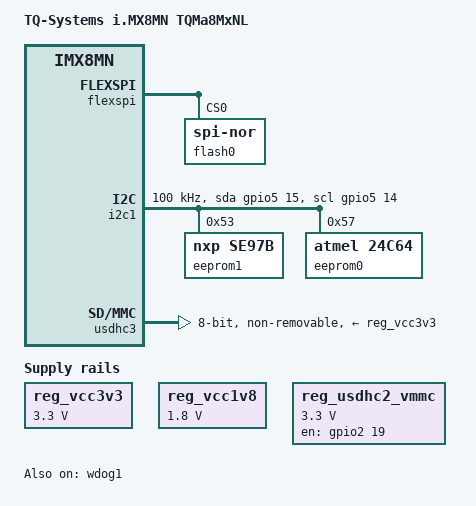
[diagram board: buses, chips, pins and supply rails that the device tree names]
// SPDX-License-Identifier: GPL-2.0-or-later OR MIT
/*
 * Copyright 2020 - 2021 TQ-Systems GmbH
 */

#include "imx8mn.dtsi"

/ {
	model = "TQ-Systems i.MX8MN TQMa8MxNL";
	compatible = "tq,imx8mn-tqma8mxnl", "fsl,imx8mn";

	reg_vcc3v3: regulator-vcc3v3 {
		compatible = "regulator-fixed";
		regulator-name = "TQMA8MXNL_VCC3V3";
		regulator-min-microvolt = <3300000>;
		regulator-max-microvolt = <3300000>;
		regulator-always-on;
	};

	/* e-MMC IO, needed for HS modes */
	reg_vcc1v8: regulator-vcc1v8 {
		compatible = "regulator-fixed";
		regulator-name = "TQMA8MXNL_VCC1V8";
		regulator-min-microvolt = <1800000>;
		regulator-max-microvolt = <1800000>;
		regulator-always-on;
	};

	reg_usdhc2_vmmc: regulator-vmmc {
		compatible = "regulator-fixed";
		pinctrl-names = "default";
		pinctrl-0 = <&pinctrl_reg_usdhc2_vmmc>;
		regulator-name = "VSD_3V3";
		regulator-min-microvolt = <3300000>;
		regulator-max-microvolt = <3300000>;
		gpio = <&gpio2 19 GPIO_ACTIVE_HIGH>;
		enable-active-high;
		startup-delay-us = <100>;
		off-on-delay-us = <12000>;
	};
};

&flexspi {
	pinctrl-names = "default";
	pinctrl-0 = <&pinctrl_flexspi0>;
	spi-max-frequency = <29000000>;
	num-cs = <1>;
	status = "okay";

	flash0: flash@0 {
		reg = <0>;
		#address-cells = <1>;
		#size-cells = <1>;
		compatible = "jedec,spi-nor";
		spi-nor,ddr-quad-read-dummy = <6>;
		spi-tx-bus-width = <4>;
		spi-rx-bus-width = <4>;
		/* used for macronix flash only */
		macronix,dsr = <0x3>;
	};
};

&iomuxc {
	/*
	 * Pad Control Register
	 *
	 * | 8  | 7    | 6   | 5   | 4:3  | 2:0 |
	 * | 0  | 0    | 0   | 0   | 0x   | 00x |
	 * | PE | HYS  | PUE | ODE | FSEL | DSE |
	 *
	 * PE: Pull Resistors Enable
	 * HYS: Hysteresis Enable
	 * PUE:
	 * 0 — Select pull-down resistors
	 * 1 — Select pull-up resistors
	 * ODE: Open Drain Enable
	 * FSEL:
	 * 0x - Select slow slew rate (SR=1)
	 * 1x — Select fast slew rate (SR=0)
	 * DSE:
	 * 00x — Drive strength X1
	 * 10x — Drive strength X2
	 * 01x — Drive strength X4
	 * 11x — Drive strength X6
	 *
	 * GPIO: 0x84 [HYS|slow|X2] (no pull up)
	 * I2C: 0x400001C4 [SION|PE|HYS|PUE|slow|x2]
	 * USDHC: 0x1D4 [HYS|fast|x2] (pull up)
	 * USDHC100: 0x1D4 [HYS|fast|x2] (pull up)
	 * USDHC200: 0x1D4 [HYS|fast|x2] (pull up)
	 */
	pinctrl_flexspi0: flexspi0grp {
		fsl,pins = <
			MX8MN_IOMUXC_NAND_ALE_QSPI_A_SCLK	0x84
			MX8MN_IOMUXC_NAND_CE0_B_QSPI_A_SS0_B	0x84
			MX8MN_IOMUXC_NAND_DATA00_QSPI_A_DATA0	0x84
			MX8MN_IOMUXC_NAND_DATA01_QSPI_A_DATA1	0x84
			MX8MN_IOMUXC_NAND_DATA02_QSPI_A_DATA2	0x84
			MX8MN_IOMUXC_NAND_DATA03_QSPI_A_DATA3	0x84
			MX8MN_IOMUXC_NAND_DQS_QSPI_A_DQS	0x40000084
		>;
	};

	pinctrl_i2c1: i2c1grp {
		fsl,pins = <
			MX8MN_IOMUXC_I2C1_SCL_I2C1_SCL		0x400001c4
			MX8MN_IOMUXC_I2C1_SDA_I2C1_SDA		0x400001c4
		>;
	};

	pinctrl_i2c1_gpio: i2c1gpiogrp {
		fsl,pins = <
			MX8MN_IOMUXC_I2C1_SCL_GPIO5_IO14	0x400001c4
			MX8MN_IOMUXC_I2C1_SDA_GPIO5_IO15	0x400001c4
		>;
	};

	pinctrl_pmic: pmicgrp {
		fsl,pins = <
			MX8MN_IOMUXC_GPIO1_IO08_GPIO1_IO8	0x84
		>;
	};

	pinctrl_emmc: usdhc3grp {
		fsl,pins = <
			MX8MN_IOMUXC_NAND_WE_B_USDHC3_CLK		0x1d4
			MX8MN_IOMUXC_NAND_WP_B_USDHC3_CMD		0x1d2
			MX8MN_IOMUXC_NAND_DATA04_USDHC3_DATA0		0x1d4
			MX8MN_IOMUXC_NAND_DATA05_USDHC3_DATA1		0x1d4
			MX8MN_IOMUXC_NAND_DATA06_USDHC3_DATA2		0x1d4
			MX8MN_IOMUXC_NAND_DATA07_USDHC3_DATA3		0x1d4
			MX8MN_IOMUXC_NAND_RE_B_USDHC3_DATA4		0x1d4
			MX8MN_IOMUXC_NAND_CE2_B_USDHC3_DATA5		0x1d4
			MX8MN_IOMUXC_NAND_CE3_B_USDHC3_DATA6		0x1d4
			MX8MN_IOMUXC_NAND_CLE_USDHC3_DATA7		0x1d4
			MX8MN_IOMUXC_NAND_CE1_B_USDHC3_STROBE		0x84
			MX8MN_IOMUXC_NAND_READY_B_USDHC3_RESET_B	0x84
		>;
	};

	pinctrl_emmc_100mhz: usdhc3grp100mhz {
		fsl,pins = <
			MX8MN_IOMUXC_NAND_WE_B_USDHC3_CLK		0x1d2
			MX8MN_IOMUXC_NAND_WP_B_USDHC3_CMD		0x1d2
			MX8MN_IOMUXC_NAND_DATA04_USDHC3_DATA0		0x1d4
			MX8MN_IOMUXC_NAND_DATA05_USDHC3_DATA1		0x1d4
			MX8MN_IOMUXC_NAND_DATA06_USDHC3_DATA2		0x1d4
			MX8MN_IOMUXC_NAND_DATA07_USDHC3_DATA3		0x1d4
			MX8MN_IOMUXC_NAND_RE_B_USDHC3_DATA4		0x1d4
			MX8MN_IOMUXC_NAND_CE2_B_USDHC3_DATA5		0x1d4
			MX8MN_IOMUXC_NAND_CE3_B_USDHC3_DATA6		0x1d4
			MX8MN_IOMUXC_NAND_CLE_USDHC3_DATA7		0x1d4
			MX8MN_IOMUXC_NAND_CE1_B_USDHC3_STROBE		0x84
			MX8MN_IOMUXC_NAND_READY_B_USDHC3_RESET_B	0x84
		>;
	};

	pinctrl_emmc_200mhz: usdhc3grp200mhz {
		fsl,pins = <
			MX8MN_IOMUXC_NAND_WE_B_USDHC3_CLK		0x1d6
			MX8MN_IOMUXC_NAND_WP_B_USDHC3_CMD		0x1d2
			MX8MN_IOMUXC_NAND_DATA04_USDHC3_DATA0		0x1d4
			MX8MN_IOMUXC_NAND_DATA05_USDHC3_DATA1		0x1d4
			MX8MN_IOMUXC_NAND_DATA06_USDHC3_DATA2		0x1d4
			MX8MN_IOMUXC_NAND_DATA07_USDHC3_DATA3		0x1d4
			MX8MN_IOMUXC_NAND_RE_B_USDHC3_DATA4		0x1d4
			MX8MN_IOMUXC_NAND_CE2_B_USDHC3_DATA5		0x1d4
			MX8MN_IOMUXC_NAND_CE3_B_USDHC3_DATA6		0x1d4
			MX8MN_IOMUXC_NAND_CLE_USDHC3_DATA7		0x1d4
			MX8MN_IOMUXC_NAND_CE1_B_USDHC3_STROBE		0x84
			MX8MN_IOMUXC_NAND_READY_B_USDHC3_RESET_B	0x84
		>;
	};

	pinctrl_reg_usdhc2_vmmc: regusdhc2vmmc {
		fsl,pins = <
			MX8MN_IOMUXC_SD2_RESET_B_GPIO2_IO19		0x84
		>;
	};

	pinctrl_wdog: wdoggrp {
		fsl,pins = <
			MX8MN_IOMUXC_GPIO1_IO02_WDOG1_WDOG_B		0x84
		>;
	};
};

&i2c1 {
	clock-frequency = <100000>;
	pinctrl-names = "default", "gpio";
	pinctrl-0 = <&pinctrl_i2c1>;
	pinctrl-1 = <&pinctrl_i2c1_gpio>;
	scl-gpios = <&gpio5 14 (GPIO_ACTIVE_HIGH | GPIO_OPEN_DRAIN)>;
	sda-gpios = <&gpio5 15 (GPIO_ACTIVE_HIGH | GPIO_OPEN_DRAIN)>;
	status = "okay";

	eeprom1: eeprom@53 {
		compatible = "nxp,se97b", "atmel,24c02";
		reg = <0x53>;
		pagesize = <16>;
	};

	eeprom0: eeprom@57 {
		compatible = "atmel,24c64";
		reg = <0x57>;
		pagesize = <32>;
	};
};

&usdhc3 {
	pinctrl-names = "default", "state_100mhz", "state_200mhz";
	pinctrl-0 = <&pinctrl_emmc>;
	pinctrl-1 = <&pinctrl_emmc_100mhz>;
	pinctrl-2 = <&pinctrl_emmc_200mhz>;
	bus-width = <8>;
	non-removable;
	no-sd;
	no-sdio;
	vmmc-supply = <&reg_vcc3v3>;
	vqmmc-supply = <&reg_vcc1v8>;
	status = "okay";
};

/*
 * Attention:
 * wdog reset is routed to PMIC, PMIC must be preconfigured to force POR
 * without LDO for SNVS. GPIO1_IO02 must not be used as GPIO.
 */
&wdog1 {
	pinctrl-names = "default";
	pinctrl-0 = <&pinctrl_wdog>;
	fsl,ext-reset-output;
	status = "okay";
};
